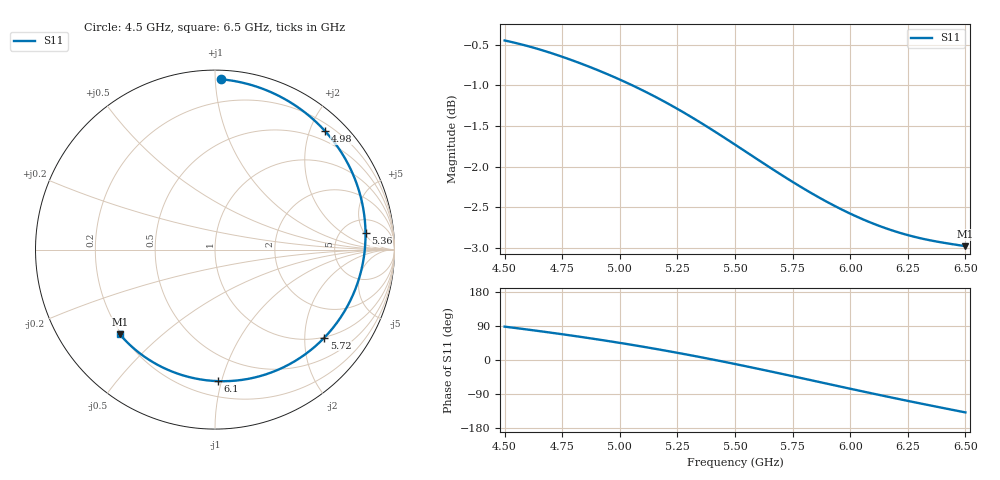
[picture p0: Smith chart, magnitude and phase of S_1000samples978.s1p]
! TOUCHSTONE file generated by CST MICROWAVE STUDIO
! Date and time: Sat Oct 29 23:43:12 2022
! Project name: L.cst
! Parameters = {Di=1.27; Epsilon_r=1.56; InnerDiameter=1.27; Length=2; Lf=10; Lg=60; OuterConductorThickness=0.2921; OuterDiameter=3.6; Wf=3; Wp=41.2; de=1.5; df=6.8; g=0.8; gx=3.02427; gy=2.90889; h=2.34; hf=1.524; px=10.3631; py=11.2375; w=9.7; wx=7.33884; wy=8.32864}
! Header version: 2018
! Port assignment regex: !\s*Touchstone port\s*([0-9]+)\s*=\s*(CST MWS port|CST DS port)\s*([0-9]+|Zmin|Zmax)\s*\(\"(.*)\"\)(\s*mode\s*([0-9]+))?.*
! Touchstone port assignment:
! Touchstone port 1 = CST MWS port 1 ("")
# GHz S DB R 50
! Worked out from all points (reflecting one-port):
!   101 points, 4.5 GHz to 6.5 GHz, reference 50 ohm
!   lowest |S11| = -3.0 dB at 6.5 GHz (marker M1), VSWR 5.90, Z = 9.67 - j18.4 ohm
!   phase of S11 starts at 88 deg and turns -226 deg over the sweep
!   S11 on the Smith chart (normalised r, x): 4.5 GHz: 0.05, +1.03; 4.98 GHz: 0.32, +2.26; 5.36 GHz: 8.28, +5.38; 5.72 GHz: 0.99, -2.50; 6.1 GHz: 0.31, -0.97; 6.5 GHz: 0.19, -0.37
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4.5  -0.45 88.0
4.58  -0.50 81.9
4.64  -0.55 77.1
4.76  -0.66 67.1
4.88  -0.79 56.5
4.98  -0.90 47.1
5  -0.93 45.2
5.06  -1.01 39.2
5.14  -1.12 30.9
5.2  -1.21 24.5
5.26  -1.31 17.9
5.36  -1.47 6.4
5.44  -1.62 -3.2
5.5  -1.73 -10.6
5.6  -1.91 -23.2
5.66  -2.02 -30.9
5.72  -2.13 -38.8
5.76  -2.20 -44.0
5.82  -2.30 -52.0
5.88  -2.40 -59.9
5.94  -2.49 -67.9
6  -2.58 -75.8
6.1  -2.70 -88.8
6.18  -2.78 -99.1
6.26  -2.85 -109.1
6.32  -2.89 -116.6
6.38  -2.92 -123.9
6.5  -2.97 -138.3
